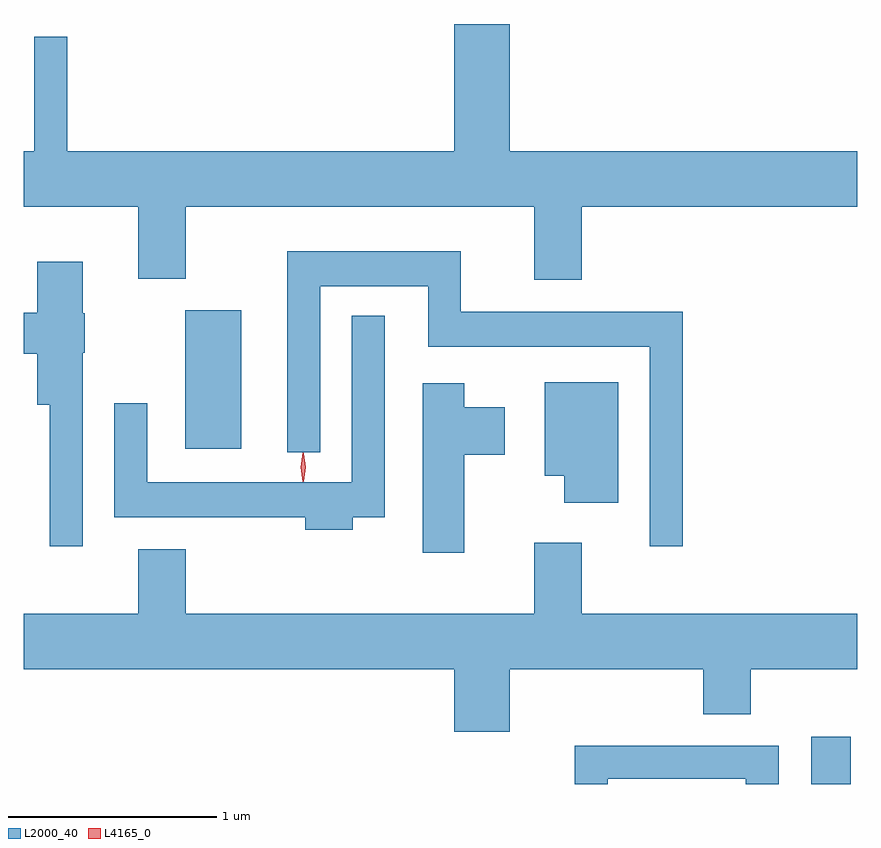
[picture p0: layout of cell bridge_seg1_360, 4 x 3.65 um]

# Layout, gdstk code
import gdstk
lib = gdstk.Library(unit=1e-6, precision=1e-09)
def R(c, l, rs):  # rectangles x0, y0, x1, y1
    for r in rs: c.add(gdstk.rectangle(r[:2], r[2:], *l))
def P(c, l, *ps):  # polygons
    for p in ps: c.add(gdstk.Polygon(p, *l))
L2000_40 = (2000, 40)
L4165_0 = (4165, 0)

bridge_seg1_360 = lib.new_cell('bridge_seg1_360')
R(bridge_seg1_360, L2000_40, [(876.131,867.946,876.319,868.174), (873.126,869.556,873.394,870.219)])
P(bridge_seg1_360, L2000_40, [(875.029,870.716),(876.351,870.716),(876.351,870.984),(874.684,870.984),(874.684,871.594),(874.416,871.594),(874.416,870.984),(872.559,870.984),(872.559,871.533),(872.401,871.533),(872.401,870.984),(872.351,870.984),(872.351,870.716),(872.901,870.716),(872.901,870.371),(873.129,870.371),(873.129,870.716),(874.801,870.716),(874.801,870.366),(875.029,870.366)],
  [(875.514,870.214),(874.449,870.214),(874.449,870.504),(873.616,870.504),(873.616,869.538),(873.774,869.538),(873.774,870.336),(874.291,870.336),(874.291,870.046),(875.356,870.046),(875.356,869.088),(875.514,869.088)],
  [(872.634,870.015),(872.644,870.015),(872.644,870.205),(872.634,870.205),(872.634,870.454),(872.416,870.454),(872.416,870.209),(872.351,870.209),(872.351,870.011),(872.416,870.011),(872.416,869.766),(872.476,869.766),(872.476,869.088),(872.634,869.088)],
  [(873.929,869.226),(874.084,869.226),(874.084,870.193),(873.926,870.193),(873.926,869.394),(872.944,869.394),(872.944,869.773),(872.786,869.773),(872.786,869.226),(873.701,869.226),(873.701,869.166),(873.929,869.166)],
  [(875.204,869.874),(874.851,869.874),(874.851,869.426),(874.946,869.426),(874.946,869.296),(875.204,869.296)],
  [(874.464,869.526),(874.659,869.526),(874.659,869.754),(874.464,869.754),(874.464,869.869),(874.266,869.869),(874.266,869.056),(874.464,869.056)],
  [(874.684,868.496),(875.611,868.496),(875.611,868.281),(875.839,868.281),(875.839,868.496),(876.351,868.496),(876.351,868.764),(875.029,868.764),(875.029,869.104),(874.801,869.104),(874.801,868.764),(873.129,868.764),(873.129,869.074),(872.901,869.074),(872.901,868.764),(872.351,868.764),(872.351,868.496),(874.416,868.496),(874.416,868.196),(874.684,868.196)],
  [(875.154,867.971),(875.816,867.971),(875.816,867.946),(875.974,867.946),(875.974,868.129),(874.996,868.129),(874.996,867.946),(875.154,867.946)])
P(bridge_seg1_360, L4165_0, [(873.695,869.399),(873.694,869.4),(873.685,869.466),(873.694,869.532),(873.695,869.533),(873.695,869.532),(873.705,869.466),(873.695,869.4)],
  [(873.69,869.397),(873.69,869.397),(873.68,869.467),(873.69,869.536),(873.69,869.536),(873.691,869.536),(873.7,869.467),(873.691,869.397)])

lib.write_gds('bridge_seg1_360.gds')
